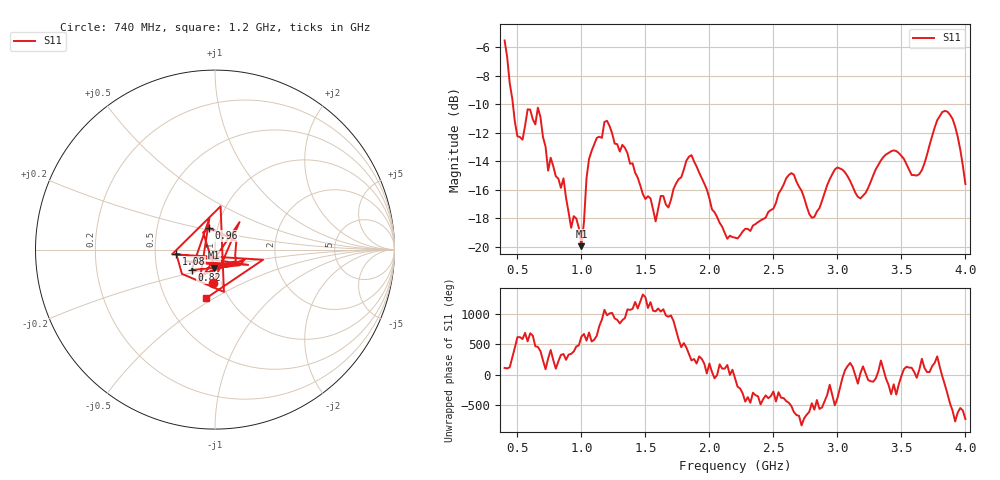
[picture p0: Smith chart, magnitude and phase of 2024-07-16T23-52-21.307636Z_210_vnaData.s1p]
!Created with skrf (http://scikit-rf.org).
# Hz S RI R 50.0
!freq ReS11 ImS11
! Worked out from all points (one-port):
!   181 points, 400 MHz to 4 GHz, reference 50 ohm
!   lowest |S11| = -20.0 dB at 1 GHz (marker M1), VSWR 1.22, Z = 48.6 - j9.86 ohm
!   |S11| at or under -10 dB: 464.7 MHz to end of sweep
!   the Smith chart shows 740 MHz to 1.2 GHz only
!   S11 on the Smith chart (normalised r, x): 740 MHz: 0.92, -0.35; 820 MHz: 0.75, -0.18; 960 MHz: 0.91, +0.22; 1.08 GHz: 0.64, -0.03; 1.2 GHz: 0.78, -0.46
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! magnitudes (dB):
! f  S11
! 400 MHz  -5.5
! 500 MHz  -12.2
! 660 MHz  -10.3
! 740 MHz  -14.7
! 820 MHz  -15.2
! 860 MHz  -15.2
! 920 MHz  -18.7
! 960 MHz  -18.0
! 1 GHz  -20.0
! 1.04 GHz  -15.2
! 1.08 GHz  -13.3
! 1.2 GHz  -11.2
! 1.3 GHz  -13.3
! 1.58 GHz  -18.2
! 1.76 GHz  -15.3
! 1.86 GHz  -13.6
! 2.2 GHz  -19.4
! 2.66 GHz  -14.9
! 2.8 GHz  -18.0
! 2.98 GHz  -14.6
! 3.1 GHz  -15.4
! 3.18 GHz  -16.6
! 3.44 GHz  -13.2
! 3.56 GHz  -14.6
! 3.66 GHz  -14.6
! 3.84 GHz  -10.5
! 3.92 GHz  -11.6
! 4 GHz  -15.6
